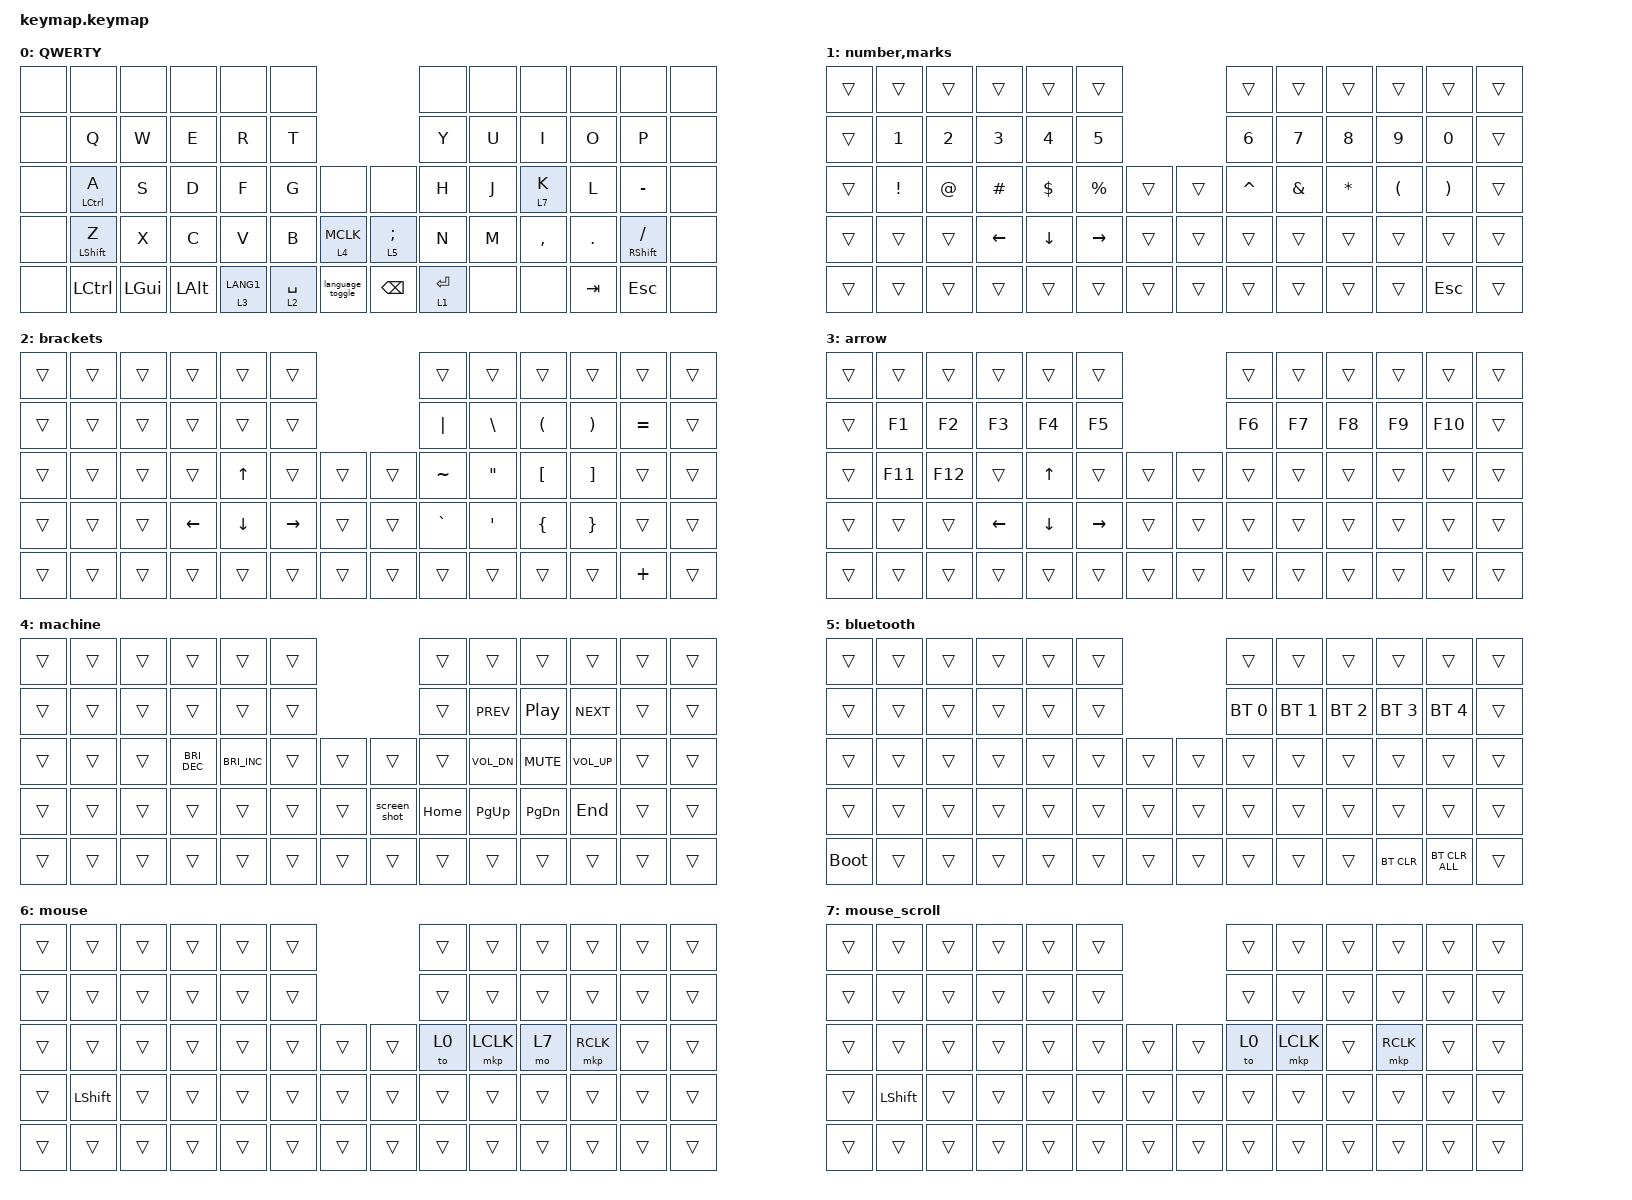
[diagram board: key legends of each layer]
#include <input/processors.dtsi>
#include <behaviors.dtsi>
#include <dt-bindings/zmk/bt.h>
#include <dt-bindings/zmk/keys.h>
#include <dt-bindings/zmk/pointing.h>

&mkp_input_listener { input-processors = <&zip_temp_layer 6 10000>; };

&mt { flavor = "balanced"; };

/ {
    combos {
        compatible = "zmk,combos";

        mission_control {
            bindings = <&mission_control>;
            key-positions = <34 35 33>;
        };

        mission_control_minus {
            bindings = <&mission_control_minus>;
            key-positions = <34 33>;
        };

        mission_control_plus {
            bindings = <&mission_control_plus>;
            key-positions = <34 35>;
        };
    };

    behaviors {
        lt_mclk: lt_mclk {
            compatible = "zmk,behavior-hold-tap";
            #binding-cells = <2>;
            display-name = "Layer-Tap Mouse Click";
            flavor = "tap-preferred";
            tapping-term-ms = <200>;
            bindings = <&mo>, <&mkp>;
        };
    };

    macros {
        screen_shot: screen_shot {
            compatible = "zmk,behavior-macro";
            #binding-cells = <0>;
            bindings =
                <&macro_press>,
                <&kp LCMD>,
                <&macro_press>,
                <&kp LEFT_SHIFT>,
                <&macro_wait_time 10>,
                <&macro_tap>,
                <&kp N5>,
                <&macro_release>,
                <&kp LEFT_SHIFT>,
                <&macro_release>,
                <&kp LCMD>;

            label = "SCREEN_SHOT";
        };

        mission_control: mission_control {
            compatible = "zmk,behavior-macro";
            #binding-cells = <0>;
            bindings =
                <&macro_press>,
                <&kp LEFT_CONTROL>,
                <&macro_wait_time 10>,
                <&macro_tap>,
                <&kp UP_ARROW>,
                <&macro_release>,
                <&kp LEFT_CONTROL>;

            label = "MISSION_CONTROL";
        };

        mission_control_minus: mission_control_minus {
            compatible = "zmk,behavior-macro";
            #binding-cells = <0>;
            bindings =
                <&macro_press>,
                <&kp LEFT_CONTROL>,
                <&macro_wait_time 10>,
                <&macro_tap>,
                <&kp LEFT_ARROW>,
                <&macro_release>,
                <&kp LEFT_CONTROL>;

            label = "MISSION_CONTROL_MINUS";
        };

        mission_control_plus: mission_control_plus {
            compatible = "zmk,behavior-macro";
            #binding-cells = <0>;
            bindings =
                <&macro_press>,
                <&kp LEFT_CONTROL>,
                <&macro_wait_time 10>,
                <&macro_tap>,
                <&kp RIGHT_ARROW>,
                <&macro_release>,
                <&kp LEFT_CONTROL>;

            label = "MISSION_CONTROL_PLUS";
        };

        language_toggle: language_toggle {
            compatible = "zmk,behavior-macro";
            #binding-cells = <0>;
            bindings =
                <&macro_press>,
                <&kp LEFT_CONTROL>,
                <&macro_wait_time 40>,
                <&macro_tap>,
                <&kp SPACE>,
                <&macro_wait_time 20>,
                <&macro_release>,
                <&kp LEFT_CONTROL>;

            label = "LANGUAGE_TOGGLE";
        };
    };

    keymap {
        compatible = "zmk,keymap";

        QWERTY {
            bindings = <
&none  &none               &none     &none     &none        &none                                         &none        &none  &none      &none    &none                 &none
&none  &kp Q               &kp W     &kp E     &kp R        &kp T                                         &kp Y        &kp U  &kp I      &kp O    &kp P                 &none
&none  &mt LEFT_CONTROL A  &kp S     &kp D     &kp F        &kp G        &none             &none          &kp H        &kp J  &lt 7 K    &kp L    &kp MINUS             &none
&none  &mt LEFT_SHIFT Z    &kp X     &kp C     &kp V        &kp B        &lt_mclk 4 MCLK   &lt 5 SEMI     &kp N        &kp M  &kp COMMA  &kp DOT  &mt RIGHT_SHIFT FSLH  &none
&none  &kp LCTRL           &kp LGUI  &kp LALT  &lt 3 LANG1  &lt 2 SPACE  &language_toggle  &kp BACKSPACE  &lt 1 ENTER  &none  &none      &kp TAB  &kp ESCAPE            &none
            >;
        };

        number,marks {
            bindings = <
&trans  &trans    &trans  &trans          &trans          &trans                           &trans     &trans    &trans     &trans                &trans                 &trans
&trans  &kp N1    &kp N2  &kp N3          &kp N4          &kp N5                           &kp N6     &kp N7    &kp N8     &kp N9                &kp N0                 &trans
&trans  &kp EXCL  &kp AT  &kp HASH        &kp DOLLAR      &kp PERCENT      &trans  &trans  &kp CARET  &kp AMPS  &kp ASTRK  &kp LEFT_PARENTHESIS  &kp RIGHT_PARENTHESIS  &trans
&trans  &trans    &trans  &kp LEFT_ARROW  &kp DOWN_ARROW  &kp RIGHT_ARROW  &trans  &trans  &trans     &trans    &trans     &trans                &trans                 &trans
&trans  &trans    &trans  &trans          &trans          &trans           &trans  &trans  &trans     &trans    &trans     &trans                &kp ESCAPE             &trans
            >;
        };

        brackets {
            bindings = <
&trans  &trans  &trans  &trans          &trans          &trans                           &trans     &trans         &trans                &trans                 &trans     &trans
&trans  &trans  &trans  &trans          &trans          &trans                           &kp PIPE   &kp BACKSLASH  &kp LEFT_PARENTHESIS  &kp RIGHT_PARENTHESIS  &kp EQUAL  &trans
&trans  &trans  &trans  &trans          &kp UP_ARROW    &trans           &trans  &trans  &kp TILDE  &kp DQT        &kp LEFT_BRACKET      &kp RIGHT_BRACKET      &trans     &trans
&trans  &trans  &trans  &kp LEFT_ARROW  &kp DOWN_ARROW  &kp RIGHT_ARROW  &trans  &trans  &kp GRAVE  &kp SQT        &kp LEFT_BRACE        &kp RIGHT_BRACE        &trans     &trans
&trans  &trans  &trans  &trans          &trans          &trans           &trans  &trans  &trans     &trans         &trans                &trans                 &kp PLUS   &trans
            >;
        };

        arrow {
            bindings = <
&trans  &trans   &trans   &trans          &trans          &trans                           &trans  &trans  &trans  &trans  &trans   &trans
&trans  &kp F1   &kp F2   &kp F3          &kp F4          &kp F5                           &kp F6  &kp F7  &kp F8  &kp F9  &kp F10  &trans
&trans  &kp F11  &kp F12  &trans          &kp UP_ARROW    &trans           &trans  &trans  &trans  &trans  &trans  &trans  &trans   &trans
&trans  &trans   &trans   &kp LEFT_ARROW  &kp DOWN_ARROW  &kp RIGHT_ARROW  &trans  &trans  &trans  &trans  &trans  &trans  &trans   &trans
&trans  &trans   &trans   &trans          &trans          &trans           &trans  &trans  &trans  &trans  &trans  &trans  &trans   &trans
            >;
        };

        machine {
            bindings = <
&trans  &trans  &trans  &trans                &trans                &trans                        &trans    &trans        &trans         &trans        &trans  &trans
&trans  &trans  &trans  &trans                &trans                &trans                        &trans    &kp C_PREV    &kp C_PP       &kp C_NEXT    &trans  &trans
&trans  &trans  &trans  &kp C_BRIGHTNESS_DEC  &kp C_BRIGHTNESS_INC  &trans  &trans  &trans        &trans    &kp C_VOL_DN  &kp C_MUTE     &kp C_VOL_UP  &trans  &trans
&trans  &trans  &trans  &trans                &trans                &trans  &trans  &screen_shot  &kp HOME  &kp PAGE_UP   &kp PAGE_DOWN  &kp END       &trans  &trans
&trans  &trans  &trans  &trans                &trans                &trans  &trans  &trans        &trans    &trans        &trans         &trans        &trans  &trans
            >;
        };

        bluetooth {
            bindings = <
&trans       &trans  &trans  &trans  &trans  &trans                  &trans        &trans        &trans        &trans        &trans          &trans
&trans       &trans  &trans  &trans  &trans  &trans                  &bt BT_SEL 0  &bt BT_SEL 1  &bt BT_SEL 2  &bt BT_SEL 3  &bt BT_SEL 4    &trans
&trans       &trans  &trans  &trans  &trans  &trans  &trans  &trans  &trans        &trans        &trans        &trans        &trans          &trans
&trans       &trans  &trans  &trans  &trans  &trans  &trans  &trans  &trans        &trans        &trans        &trans        &trans          &trans
&bootloader  &trans  &trans  &trans  &trans  &trans  &trans  &trans  &trans        &trans        &trans        &bt BT_CLR    &bt BT_CLR_ALL  &trans
            >;
        };

        mouse {
            bindings = <
&trans  &trans      &trans  &trans  &trans  &trans                  &trans  &trans     &trans  &trans     &trans  &trans
&trans  &trans      &trans  &trans  &trans  &trans                  &trans  &trans     &trans  &trans     &trans  &trans
&trans  &trans      &trans  &trans  &trans  &trans  &trans  &trans  &to 0   &mkp LCLK  &mo 7   &mkp RCLK  &trans  &trans
&trans  &kp LSHIFT  &trans  &trans  &trans  &trans  &trans  &trans  &trans  &trans     &trans  &trans     &trans  &trans
&trans  &trans      &trans  &trans  &trans  &trans  &trans  &trans  &trans  &trans     &trans  &trans     &trans  &trans
            >;
        };

        mouse_scroll {
            bindings = <
&trans  &trans      &trans  &trans  &trans  &trans                  &trans  &trans     &trans  &trans     &trans  &trans
&trans  &trans      &trans  &trans  &trans  &trans                  &trans  &trans     &trans  &trans     &trans  &trans
&trans  &trans      &trans  &trans  &trans  &trans  &trans  &trans  &to 0   &mkp LCLK  &trans  &mkp RCLK  &trans  &trans
&trans  &kp LSHIFT  &trans  &trans  &trans  &trans  &trans  &trans  &trans  &trans     &trans  &trans     &trans  &trans
&trans  &trans      &trans  &trans  &trans  &trans  &trans  &trans  &trans  &trans     &trans  &trans     &trans  &trans
            >;
        };
    };
};
